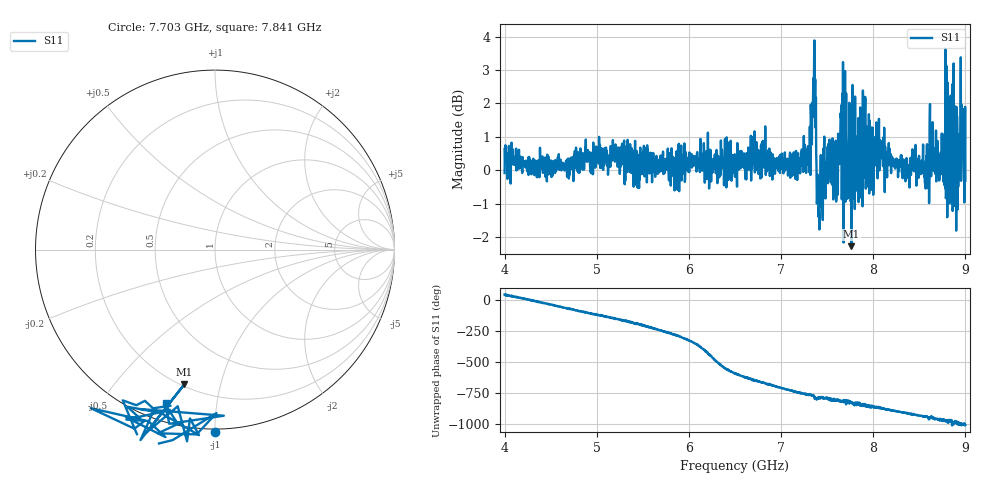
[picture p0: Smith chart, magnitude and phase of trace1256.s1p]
! Created with skrf 1.8.0 (http://scikit-rf.org).
# Hz S RI R 50.0
!freq ReS11 ImS11
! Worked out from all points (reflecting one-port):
!   1601 points, 4 GHz to 9 GHz, reference 50 ohm
!   lowest |S11| = -2.3 dB at 7.762 GHz (marker M1), VSWR 7.67, Z = 10.6 - j38.8 ohm
!   phase of S11 starts at 48 deg and turns -1057 deg over the sweep
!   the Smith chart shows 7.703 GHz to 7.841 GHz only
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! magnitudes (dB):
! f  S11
! 4 GHz  -0.1
! 4.625 GHz  0.0
! 5.25 GHz  -0.1
! 5.875 GHz  0.2
! 6.5 GHz  -0.2
! 7.125 GHz  0.5
! 7.294 GHz  0.3
! 7.347 GHz  2.1
! 7.369 GHz  2.7
! 7.4 GHz  -0.5
! 7.412 GHz  -1.3
! 7.512 GHz  0.3
! 7.591 GHz  0.9
! 7.647 GHz  1.7
! 7.7 GHz  -0.9
! 7.75 GHz  -0.4
! 7.762 GHz  -2.3
! 7.891 GHz  0.1
! 7.981 GHz  -0.6
! 8.038 GHz  0.8
! 8.375 GHz  0.1
! 8.584 GHz  0.8
! 8.638 GHz  0.3
! 8.738 GHz  0.3
! 8.819 GHz  0.8
! 8.875 GHz  0.4
! 8.972 GHz  0.5
! 9 GHz  -0.3
